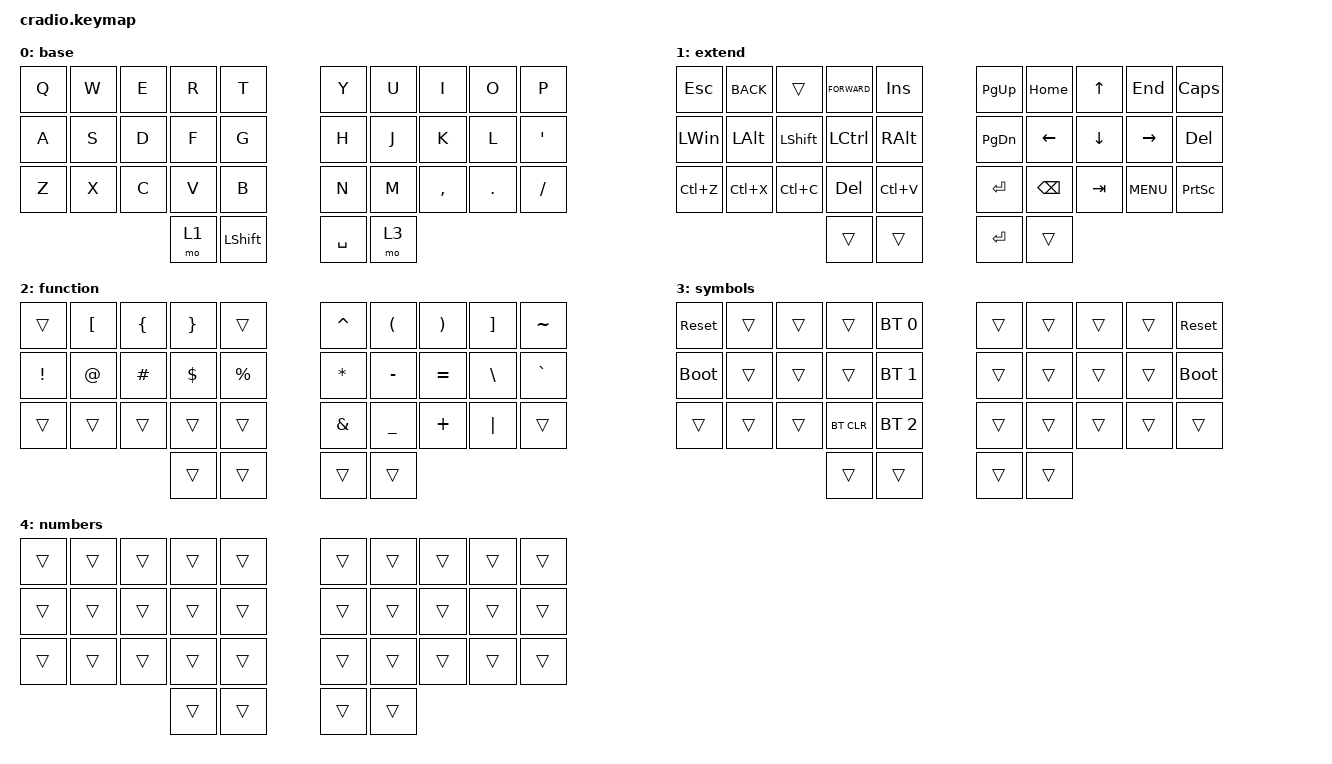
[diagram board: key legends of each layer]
// Copyright (c) 2022 The ZMK Contributors
// SPDX-License-Identifier: MIT

#include <behaviors.dtsi>
#include <dt-bindings/zmk/bt.h>
#include <dt-bindings/zmk/keys.h>

// Home row mods macro

#define HRML(k1,k2,k3,k4) &ht LSHFT k1  &ht LALT k2  &ht LCTRL k3  &ht LGUI k4
#define HRMR(k1,k2,k3,k4) &ht RGUI k1  &ht RCTRL k2  &ht RALT k3  &ht RSHFT k4

/ {
    behaviors {
        ht: hold_tap {
            label = "hold_tap";
            compatible = "zmk,behavior-hold-tap";
            #binding-cells = <2>;
            flavor = "tap-preferred";
            tapping-term-ms = <220>;
            quick-tap-ms = <150>;
            require-prior-idle-ms = <100>;
            bindings = <&kp>, <&kp>;
        };
    };

    conditional_layers {
        compatible = "zmk,conditional-layers";

        tri_layer {
            if-layers = <1 2>;
            then-layer = <3>;
        };
    };

    keymap {
        compatible = "zmk,keymap";

        base_layer {
            bindings = <
&kp Q  &kp W  &kp E  &kp R  &kp T             &kp Y      &kp U  &kp I      &kp O    &kp P
&kp A  &kp S  &kp D  &kp F  &kp G             &kp H      &kp J  &kp K      &kp L    &kp SQT
&kp Z  &kp X  &kp C  &kp V  &kp B             &kp N      &kp M  &kp COMMA  &kp DOT  &kp FSLH
                     &mo 1  &kp LEFT_SHIFT    &kp SPACE  &mo 3
            >;

            label = "base";
        };

        extend_layer {
            bindings = <
&kp ESC       &kp K_BACK    &trans          &kp K_FORWARD     &kp INSERT       &kp PG_UP      &kp HOME        &kp UP_ARROW    &kp END     &kp CAPSLOCK
&kp LEFT_WIN  &kp LEFT_ALT  &kp LEFT_SHIFT  &kp LEFT_CONTROL  &kp RIGHT_ALT    &kp PAGE_DOWN  &kp LEFT_ARROW  &kp DOWN_ARROW  &kp RIGHT   &kp DELETE
&kp LC(Z)     &kp LC(X)     &kp LC(C)       &kp DELETE        &kp LC(V)        &kp ENTER      &kp BACKSPACE   &kp TAB         &kp K_MENU  &kp PRINTSCREEN
                                            &trans            &trans           &kp ENTER      &trans
            >;

            label = "extend";
        };

        function_layer {
            bindings = <
&trans    &kp LBKT  &kp LBRC  &kp RBRC  &trans       &kp CARET  &kp LPAR   &kp RPAR   &kp RBKT  &kp TILDE
&kp EXCL  &kp AT    &kp HASH  &kp DLLR  &kp PRCNT    &kp ASTRK  &kp MINUS  &kp EQUAL  &kp BSLH  &kp GRAVE
&trans    &trans    &trans    &trans    &trans       &kp AMPS   &kp UNDER  &kp PLUS   &kp PIPE  &trans
                              &trans    &trans       &trans     &trans
            >;

            label = "function";
        };

        symbols_layer {
            bindings = <
&sys_reset   &trans  &trans  &trans      &bt BT_SEL 0    &trans  &trans  &trans  &trans  &sys_reset
&bootloader  &trans  &trans  &trans      &bt BT_SEL 1    &trans  &trans  &trans  &trans  &bootloader
&trans       &trans  &trans  &bt BT_CLR  &bt BT_SEL 2    &trans  &trans  &trans  &trans  &trans
                             &trans      &trans          &trans  &trans
            >;

            label = "symbols";
        };

        numbers_layer {
            bindings = <
&trans  &trans  &trans  &trans  &trans    &trans  &trans  &trans  &trans  &trans
&trans  &trans  &trans  &trans  &trans    &trans  &trans  &trans  &trans  &trans
&trans  &trans  &trans  &trans  &trans    &trans  &trans  &trans  &trans  &trans
                        &trans  &trans    &trans  &trans
            >;

            label = "numbers";
        };
    };
};
